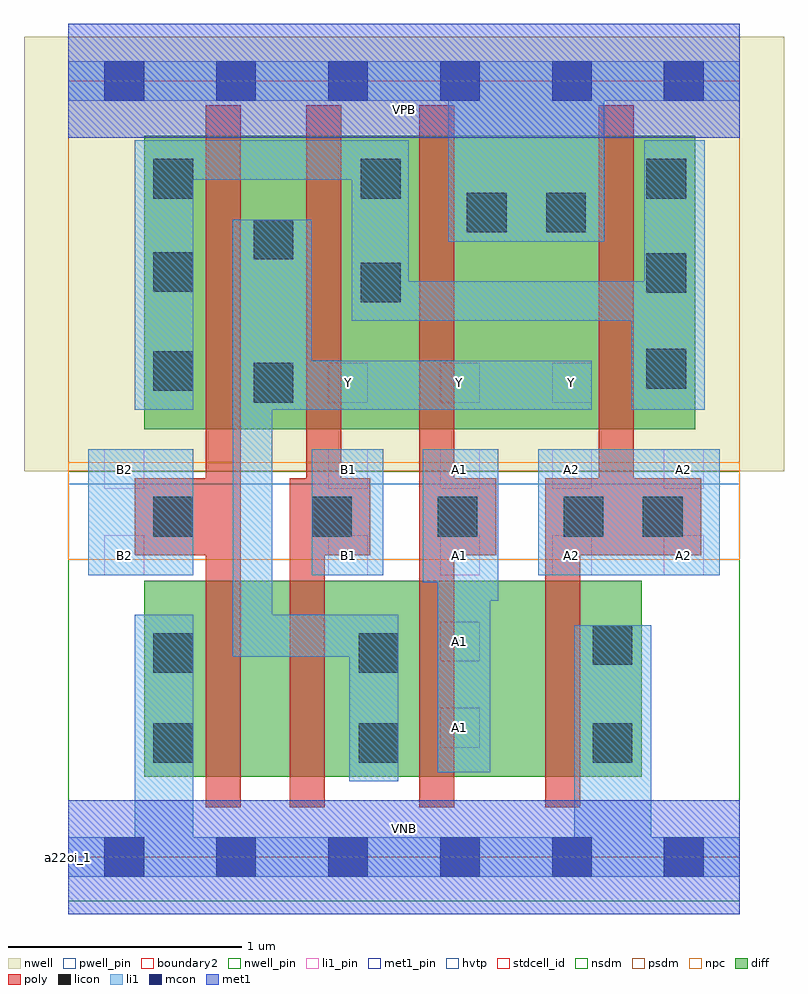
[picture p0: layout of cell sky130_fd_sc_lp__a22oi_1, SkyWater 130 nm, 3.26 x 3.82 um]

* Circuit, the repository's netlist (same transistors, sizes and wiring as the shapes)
* Copyright 2020 The SkyWater PDK Authors
*
* Licensed under the Apache License, Version 2.0 (the "License");
* you may not use this file except in compliance with the License.
* You may obtain a copy of the License at
*
*     https://www.apache.org/licenses/LICENSE-2.0
*
* Unless required by applicable law or agreed to in writing, software
* distributed under the License is distributed on an "AS IS" BASIS,
* WITHOUT WARRANTIES OR CONDITIONS OF ANY KIND, either express or implied.
* See the License for the specific language governing permissions and
* limitations under the License.
*
* SPDX-License-Identifier: Apache-2.0

.SUBCKT sky130_fd_sc_lp__a22oi_1 A1 A2 B1 B2 VGND VNB VPB VPWR Y
*.PININFO A1:I A2:I B1:I B2:I VGND:I VNB:I VPB:I VPWR:I Y:O
MMPA0 pndA A1 VPWR VPB sky130_fd_pr__pfet_01v8_hvt m=1 w=1.26U l=0.15U mult=1 sa=0.265
+ sb=0.265 sd=0.28 area=0.063 perim=1.14
MMPA1 pndA A2 VPWR VPB sky130_fd_pr__pfet_01v8_hvt m=1 w=1.26U l=0.15U mult=1 sa=0.265
+ sb=0.265 sd=0.28 area=0.063 perim=1.14
MMPB0 Y B1 pndA VPB sky130_fd_pr__pfet_01v8_hvt m=1 w=1.26U l=0.15U mult=1 sa=0.265
+ sb=0.265 sd=0.28 area=0.063 perim=1.14
MMPB1 Y B2 pndA VPB sky130_fd_pr__pfet_01v8_hvt m=1 w=1.26U l=0.15U mult=1 sa=0.265
+ sb=0.265 sd=0.28 area=0.063 perim=1.14
MMNA0 Y A1 sndA1 VNB sky130_fd_pr__nfet_01v8 m=1 w=0.84U l=0.15U mult=1 sa=0.265
+ sb=0.265 sd=0.28 area=0.063 perim=1.14
MMNA1 sndA1 A2 VGND VNB sky130_fd_pr__nfet_01v8 m=1 w=0.84U l=0.15U mult=1 sa=0.265
+ sb=0.265 sd=0.28 area=0.063 perim=1.14
MMNB0 Y B1 sndB1 VNB sky130_fd_pr__nfet_01v8 m=1 w=0.84U l=0.15U mult=1 sa=0.265
+ sb=0.265 sd=0.28 area=0.063 perim=1.14
MMNB1 sndB1 B2 VGND VNB sky130_fd_pr__nfet_01v8 m=1 w=0.84U l=0.15U mult=1 sa=0.265
+ sb=0.265 sd=0.28 area=0.063 perim=1.14
.ENDS sky130_fd_sc_lp__a22oi_1

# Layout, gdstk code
import gdstk
lib = gdstk.Library(unit=1e-6, precision=1e-09)
def R(c, l, rs):  # rectangles x0, y0, x1, y1
    for r in rs: c.add(gdstk.rectangle(r[:2], r[2:], *l))
def A(c, l, x, y, w, h, nx, ny, dx, dy):  # array of equal rectangles
    R(c, l, [(x+i*dx, y+j*dy, x+i*dx+w, y+j*dy+h) for i in range(nx) for j in range(ny)])
def P(c, l, *ps):  # polygons
    for p in ps: c.add(gdstk.Polygon(p, *l))
nwell_pin = (64, 16)
nwell = (64, 20)
diff = (65, 20)
poly = (66, 20)
licon = (66, 44)
li1_pin = (67, 16)
li1 = (67, 20)
mcon = (67, 44)
met1_pin = (68, 16)
met1 = (68, 20)
hvtp = (78, 44)
stdcell_id = (81, 4)
nsdm = (93, 44)
psdm = (94, 20)
npc = (95, 20)
pwell_pin = (122, 16)
boundary2 = (236, 0)

sky130_fd_sc_lp__a22oi_1 = lib.new_cell('sky130_fd_sc_lp__a22oi_1')
R(sky130_fd_sc_lp__a22oi_1, nwell_pin, [(0,3.085,2.88,3.33)])
R(sky130_fd_sc_lp__a22oi_1, nwell, [(-0.19,1.655,3.07,3.52)])
R(sky130_fd_sc_lp__a22oi_1, diff, [(0.325,0.345,2.46,1.185), (0.325,1.835,2.69,3.095)])
P(sky130_fd_sc_lp__a22oi_1, poly, [(0.74,3.225),(0.59,3.225),(0.59,1.625),(0.285,1.625),(0.285,1.295),(0.59,1.295),(0.59,0.215),(0.74,0.215)],
  [(1.835,1.625),(1.655,1.625),(1.655,3.225),(1.505,3.225),(1.505,0.215),(1.655,0.215),(1.655,1.295),(1.835,1.295)],
  [(2.715,1.625),(2.425,1.625),(2.425,3.225),(2.275,3.225),(2.275,1.625),(2.045,1.625),(2.045,0.215),(2.195,0.215),(2.195,1.295),(2.715,1.295)],
  [(1.295,1.625),(1.17,1.625),(1.17,3.225),(1.02,3.225),(1.02,1.625),(0.95,1.625),(0.95,0.215),(1.1,0.215),(1.1,1.295),(1.295,1.295)])
A(sky130_fd_sc_lp__a22oi_1, licon, 1.045, 1.375, 0.17, 0.17, 3, 1, 0.54, 0)
R(sky130_fd_sc_lp__a22oi_1, licon, [(0.365,0.405,0.535,0.575), (1.245,0.405,1.415,0.575), (2.25,0.405,2.42,0.575), (0.365,0.79,0.535,0.96), (1.245,0.79,1.415,0.96), (2.25,0.825,2.42,0.995), (0.365,1.375,0.535,1.545), (2.465,1.375,2.635,1.545), (0.795,1.95,0.965,2.12), (0.365,2,0.535,2.17), (2.48,2.01,2.65,2.18), (1.255,2.38,1.425,2.55), (2.48,2.42,2.65,2.59), (0.365,2.425,0.535,2.595), (0.795,2.565,0.965,2.735), (1.71,2.68,1.88,2.85), (2.05,2.68,2.22,2.85), (0.365,2.825,0.535,2.995), (1.255,2.825,1.425,2.995), (2.48,2.825,2.65,2.995)])
A(sky130_fd_sc_lp__a22oi_1, li1_pin, 1.115, 1.21, 0.17, 0.17, 4, 2, 0.48, 0.37)
A(sky130_fd_sc_lp__a22oi_1, li1_pin, 1.115, 1.95, 0.17, 0.17, 3, 1, 0.48, 0)
R(sky130_fd_sc_lp__a22oi_1, li1_pin, [(1.595,0.47,1.765,0.64), (1.595,0.84,1.765,1.01), (0.155,1.21,0.325,1.38), (0.155,1.58,0.325,1.75)])
R(sky130_fd_sc_lp__a22oi_1, li1, [(0.085,1.21,0.535,1.75), (1.045,1.21,1.35,1.75), (2.015,1.21,2.795,1.75)])
P(sky130_fd_sc_lp__a22oi_1, li1, [(1.63,2.64),(1.63,3.245),(0,3.245),(0,3.415),(2.88,3.415),(2.88,3.245),(2.3,3.245),(2.3,2.64)],
  [(2.17,0.085),(2.17,0.995),(2.5,0.995),(2.5,0.085),(2.88,0.085),(2.88,-0.085),(0,-0.085),(0,0.085),(0.285,0.085),(0.285,1.04),(0.535,1.04),(0.535,0.085)],
  [(1.845,1.75),(1.52,1.75),(1.52,1.18),(1.585,1.18),(1.585,0.365),(1.81,0.365),(1.81,1.1),(1.845,1.1)],
  [(1.045,2.13),(2.245,2.13),(2.245,1.92),(0.875,1.92),(0.875,1.04),(1.415,1.04),(1.415,0.325),(1.205,0.325),(1.205,0.86),(0.705,0.86),(0.705,2.735),(1.045,2.735)],
  [(1.46,2.47),(2.47,2.47),(2.47,3.075),(2.73,3.075),(2.73,1.92),(2.415,1.92),(2.415,2.3),(1.215,2.3),(1.215,2.905),(0.535,2.905),(0.535,1.92),(0.285,1.92),(0.285,3.075),(1.46,3.075)])
A(sky130_fd_sc_lp__a22oi_1, mcon, 0.155, -0.085, 0.17, 0.17, 6, 2, 0.48, 3.33)
R(sky130_fd_sc_lp__a22oi_1, met1_pin, [(0,0,2.88,0.245), (0,3.085,2.88,3.33)])
R(sky130_fd_sc_lp__a22oi_1, met1, [(0,-0.245,2.88,0.245), (0,3.085,2.88,3.575)])
R(sky130_fd_sc_lp__a22oi_1, hvtp, [(0,1.6,2.88,3.33)])
R(sky130_fd_sc_lp__a22oi_1, stdcell_id, [(0,0,2.88,3.33)])
R(sky130_fd_sc_lp__a22oi_1, nsdm, [(0,-0.19,2.88,1.655)])
R(sky130_fd_sc_lp__a22oi_1, psdm, [(0,1.655,2.88,3.52)])
R(sky130_fd_sc_lp__a22oi_1, npc, [(0,1.275,2.88,1.695)])
R(sky130_fd_sc_lp__a22oi_1, pwell_pin, [(0,0,2.88,0.245)])
R(sky130_fd_sc_lp__a22oi_1, boundary2, [(0,0,2.88,3.33)])
sky130_fd_sc_lp__a22oi_1.add(gdstk.Label('VNB', (1.44,0.123), layer=64, texttype=59))
sky130_fd_sc_lp__a22oi_1.add(gdstk.Label('VPB', (1.44,3.208), layer=64, texttype=5))
sky130_fd_sc_lp__a22oi_1.add(gdstk.Label('a22oi_1', (0,0), layer=83, texttype=44))
sky130_fd_sc_lp__a22oi_1.add(gdstk.Label('VPWR', (1.44,3.208), layer=68, texttype=5))
sky130_fd_sc_lp__a22oi_1.add(gdstk.Label('VGND', (1.44,0.123), layer=68, texttype=5))
sky130_fd_sc_lp__a22oi_1.add(gdstk.Label('A1', (1.68,0.555), layer=67, texttype=5))
sky130_fd_sc_lp__a22oi_1.add(gdstk.Label('A1', (1.68,0.925), layer=67, texttype=5))
sky130_fd_sc_lp__a22oi_1.add(gdstk.Label('A1', (1.68,1.295), layer=67, texttype=5))
sky130_fd_sc_lp__a22oi_1.add(gdstk.Label('A1', (1.68,1.665), layer=67, texttype=5))
sky130_fd_sc_lp__a22oi_1.add(gdstk.Label('A2', (2.16,1.665), layer=67, texttype=5))
sky130_fd_sc_lp__a22oi_1.add(gdstk.Label('Y', (1.2,2.035), layer=67, texttype=5))
sky130_fd_sc_lp__a22oi_1.add(gdstk.Label('Y', (1.68,2.035), layer=67, texttype=5))
sky130_fd_sc_lp__a22oi_1.add(gdstk.Label('Y', (2.16,2.035), layer=67, texttype=5))
sky130_fd_sc_lp__a22oi_1.add(gdstk.Label('A2', (2.64,1.295), layer=67, texttype=5))
sky130_fd_sc_lp__a22oi_1.add(gdstk.Label('A2', (2.64,1.665), layer=67, texttype=5))
sky130_fd_sc_lp__a22oi_1.add(gdstk.Label('B1', (1.2,1.295), layer=67, texttype=5))
sky130_fd_sc_lp__a22oi_1.add(gdstk.Label('B1', (1.2,1.665), layer=67, texttype=5))
sky130_fd_sc_lp__a22oi_1.add(gdstk.Label('B2', (0.24,1.295), layer=67, texttype=5))
sky130_fd_sc_lp__a22oi_1.add(gdstk.Label('B2', (0.24,1.665), layer=67, texttype=5))
sky130_fd_sc_lp__a22oi_1.add(gdstk.Label('A2', (2.16,1.295), layer=67, texttype=5))

lib.write_gds('sky130_fd_sc_lp__a22oi_1.gds')
